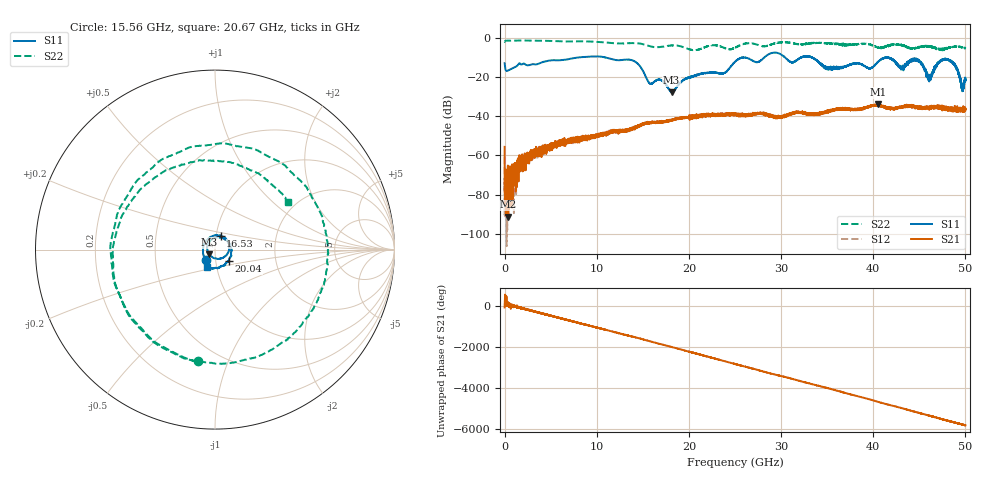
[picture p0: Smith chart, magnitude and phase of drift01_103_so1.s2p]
!Created with skrf (http://scikit-rf.org).
# Hz S RI R 50.0
!freq ReS11 ImS11 ReS21 ImS21 ReS12 ImS12 ReS22 ImS22
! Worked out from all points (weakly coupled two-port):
!   10001 points, 300 kHz to 50 GHz, reference 50 ohm
!   highest |S21| = -33.98 dB at 40.54 GHz (marker M1); lowest = -91.3 dB at 395.3 MHz (marker M2)
!   lowest |S11| = -27.8 dB at 18.12 GHz (marker M3), VSWR 1.09, Z = 46.8 - j2.38 ohm
!   |S11| at or under -10 dB: start of sweep to 8.07 GHz; 10.91 GHz to 26 GHz (15.09 GHz wide, 81.8 % of centre); 41.58 GHz to end of sweep (the widest 3 of 16)
!   |S22| runs from -6.4 to -1.4 dB; largest |S21 - S12| = 0.004
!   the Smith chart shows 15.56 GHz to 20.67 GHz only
!   S11 on the Smith chart (normalised r, x): 15.56 GHz: 0.89, -0.10; 16.53 GHz: 1.05, +0.17; 20.04 GHz: 1.16, -0.15; 20.67 GHz: 0.89, -0.18
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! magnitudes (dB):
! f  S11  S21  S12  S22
! 300 kHz  -12.9  -55.7  -60.8  -2.1
! 255.3 MHz  -16.9  -71.2  -72.7  -1.4
! 395.3 MHz  -16.6  -91.3  -77.8  -1.4
! 2.635 GHz  -14.0  -59.7  -59.3  -1.4
! 8.335 GHz  -9.9  -50.8  -51.0  -1.8
! 13.87 GHz  -11.5  -46.2  -46.2  -2.7
! 15.56 GHz  -22.2  -43.3  -43.4  -4.0
! 16.53 GHz  -21.5  -43.2  -42.9  -4.8
! 16.67 GHz  -21.4  -43.0  -43.3  -4.8
! 18.12 GHz  -27.8  -42.0  -41.9  -3.9
! 20.04 GHz  -20.0  -40.9  -40.1  -5.9
! 20.67 GHz  -19.2  -39.7  -39.8  -6.3
! 25 GHz  -12.2  -39.3  -39.1  -5.0
! 33.34 GHz  -10.0  -39.0  -39.0  -2.6
! 35.25 GHz  -15.4  -37.3  -37.3  -2.9
! 40.54 GHz  -12.2  -34.0  -34.4  -5.0
! 41.67 GHz  -10.3  -35.8  -36.1  -4.2
! 43.1 GHz  -15.3  -35.7  -35.6  -3.7
! 44.8 GHz  -11.4  -36.1  -35.5  -5.0
! 46.11 GHz  -20.7  -35.5  -35.5  -4.3
! 48.06 GHz  -11.3  -36.0  -36.2  -5.3
! 50 GHz  -21.8  -36.4  -36.0  -5.4
